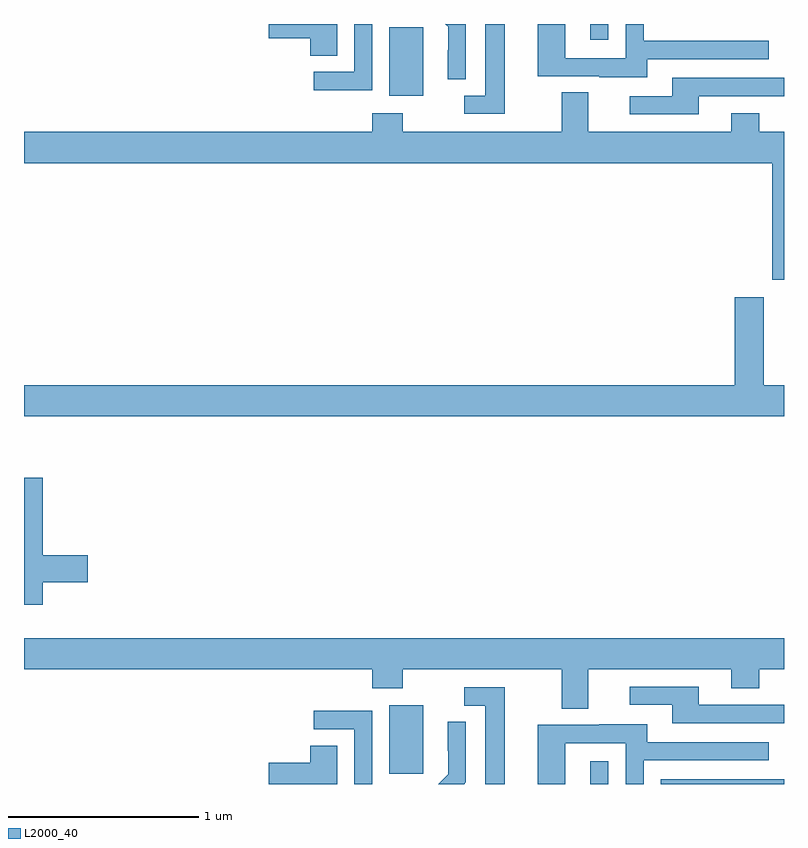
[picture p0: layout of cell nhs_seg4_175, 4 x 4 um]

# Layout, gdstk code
import gdstk
lib = gdstk.Library(unit=1e-6, precision=1e-09)
def R(c, l, rs):  # rectangles x0, y0, x1, y1
    for r in rs: c.add(gdstk.rectangle(r[:2], r[2:], *l))
def P(c, l, *ps):  # polygons
    for p in ps: c.add(gdstk.Polygon(p, *l))
L2000_40 = (2000, 40)

nhs_seg4_175 = lib.new_cell('nhs_seg4_175')
R(nhs_seg4_175, L2000_40, [(121.979,778.9,122.076,779.02), (122.352,778.9,123,778.926), (120.923,778.953,121.102,779.314), (120.923,782.522,121.102,782.883), (121.979,782.817,122.076,782.9)])
P(nhs_seg4_175, L2000_40, [(120.649,782.9),(120.288,782.9),(120.288,782.825),(120.506,782.825),(120.506,782.734),(120.649,782.734)],
  [(122.281,782.715),(122.921,782.715),(122.921,782.811),(122.262,782.811),(122.262,782.9),(122.166,782.9),(122.166,782.721),(121.848,782.721),(121.848,782.9),(121.703,782.9),(121.703,782.625),(122.027,782.625),(122.027,782.621),(122.281,782.621)],
  [(120.834,782.9),(120.738,782.9),(120.738,782.649),(120.525,782.649),(120.525,782.551),(120.834,782.551)],
  [(121.326,782.9),(121.217,782.9),(121.232,782.885),(121.232,782.762),(121.23,782.762),(121.23,782.608),(121.326,782.608)],
  [(121.531,782.9),(121.427,782.9),(121.427,782.523),(121.317,782.523),(121.317,782.427),(121.531,782.427)],
  [(122.551,782.52),(123,782.52),(123,782.616),(122.411,782.616),(122.411,782.52),(122.187,782.52),(122.187,782.424),(122.551,782.424)],
  [(123,782.332),(122.871,782.332),(122.871,782.431),(122.723,782.431),(122.723,782.332),(121.969,782.332),(121.969,782.54),(121.829,782.54),(121.829,782.332),(120.993,782.332),(120.993,782.431),(120.833,782.431),(120.833,782.332),(119,782.332),(119,782.168),(122.939,782.168),(122.939,781.554),(123,781.554)],
  [(123,781),(122.893,781),(122.893,781.462),(122.741,781.462),(122.741,781),(119,781),(119,780.836),(123,780.836)],
  [(119.099,779.962),(119.335,779.962),(119.335,780.104),(119.099,780.104),(119.099,780.511),(119,780.511),(119,779.844),(119.099,779.844)],
  [(121.969,779.504),(122.723,779.504),(122.723,779.405),(122.871,779.405),(122.871,779.504),(123,779.504),(123,779.668),(119,779.668),(119,779.504),(120.833,779.504),(120.833,779.405),(120.993,779.405),(120.993,779.504),(121.829,779.504),(121.829,779.296),(121.969,779.296)],
  [(123,779.316),(122.551,779.316),(122.551,779.412),(122.187,779.412),(122.187,779.316),(122.411,779.316),(122.411,779.22),(123,779.22)],
  [(121.531,779.409),(121.317,779.409),(121.317,779.313),(121.427,779.313),(121.427,778.9),(121.531,778.9)],
  [(120.834,779.286),(120.525,779.286),(120.525,779.187),(120.738,779.187),(120.738,778.9),(120.834,778.9)],
  [(121.326,778.91),(121.326,779.228),(121.23,779.228),(121.23,779.074),(121.232,779.074),(121.232,778.952),(121.18,778.9),(121.316,778.9)],
  [(121.848,779.115),(122.166,779.115),(122.166,778.9),(122.262,778.9),(122.262,779.025),(122.921,779.025),(122.921,779.121),(122.281,779.121),(122.281,779.215),(122.027,779.215),(122.027,779.211),(121.703,779.211),(121.703,778.9),(121.848,778.9)],
  [(120.649,779.102),(120.506,779.102),(120.506,779.012),(120.288,779.012),(120.288,778.9),(120.649,778.9)])

lib.write_gds('nhs_seg4_175.gds')
